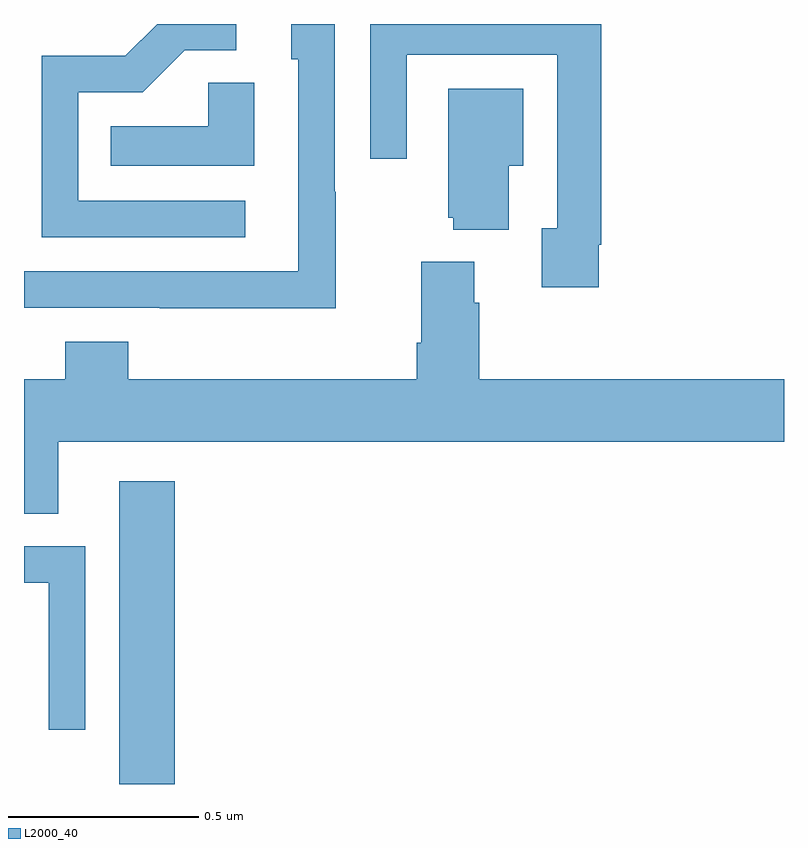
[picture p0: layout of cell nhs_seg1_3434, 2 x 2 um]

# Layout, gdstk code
import gdstk
lib = gdstk.Library(unit=1e-6, precision=1e-09)
def R(c, l, rs):  # rectangles x0, y0, x1, y1
    for r in rs: c.add(gdstk.rectangle(r[:2], r[2:], *l))
def P(c, l, *ps):  # polygons
    for p in ps: c.add(gdstk.Polygon(p, *l))
L2000_40 = (2000, 40)

nhs_seg1_3434 = lib.new_cell('nhs_seg1_3434')
R(nhs_seg1_3434, L2000_40, [(154.25,516.199,154.397,516.996)])
P(nhs_seg1_3434, L2000_40, [(155.512,517.618),(155.519,517.618),(155.519,518.199),(154.911,518.199),(154.911,517.845),(155.007,517.845),(155.007,518.118),(155.403,518.118),(155.403,517.662),(155.363,517.662),(155.363,517.506),(155.512,517.506)],
  [(154.821,517.757),(154.818,517.757),(154.818,518.199),(154.703,518.199),(154.703,518.106),(154.722,518.106),(154.722,517.548),(154,517.548),(154,517.452),(154.357,517.452),(154.357,517.451),(154.821,517.451)],
  [(154.582,517.734),(154.143,517.734),(154.143,518.019),(154.312,518.019),(154.423,518.13),(154.558,518.13),(154.558,518.199),(154.35,518.199),(154.266,518.115),(154.047,518.115),(154.047,517.638),(154.582,517.638)],
  [(154.606,518.045),(154.485,518.045),(154.485,517.93),(154.228,517.93),(154.228,517.826),(154.606,517.826)],
  [(155.275,517.826),(155.314,517.826),(155.314,518.029),(155.117,518.029),(155.117,517.689),(155.129,517.689),(155.129,517.658),(155.275,517.658)],
  [(154.09,517.1),(156,517.1),(156,517.264),(155.198,517.264),(155.198,517.466),(155.185,517.466),(155.185,517.573),(155.045,517.573),(155.045,517.36),(155.033,517.36),(155.033,517.264),(154.274,517.264),(154.274,517.363),(154.109,517.363),(154.109,517.264),(154,517.264),(154,516.91),(154.09,516.91)],
  [(154.161,516.825),(154,516.825),(154,516.729),(154.065,516.729),(154.065,516.342),(154.161,516.342)])

lib.write_gds('nhs_seg1_3434.gds')
